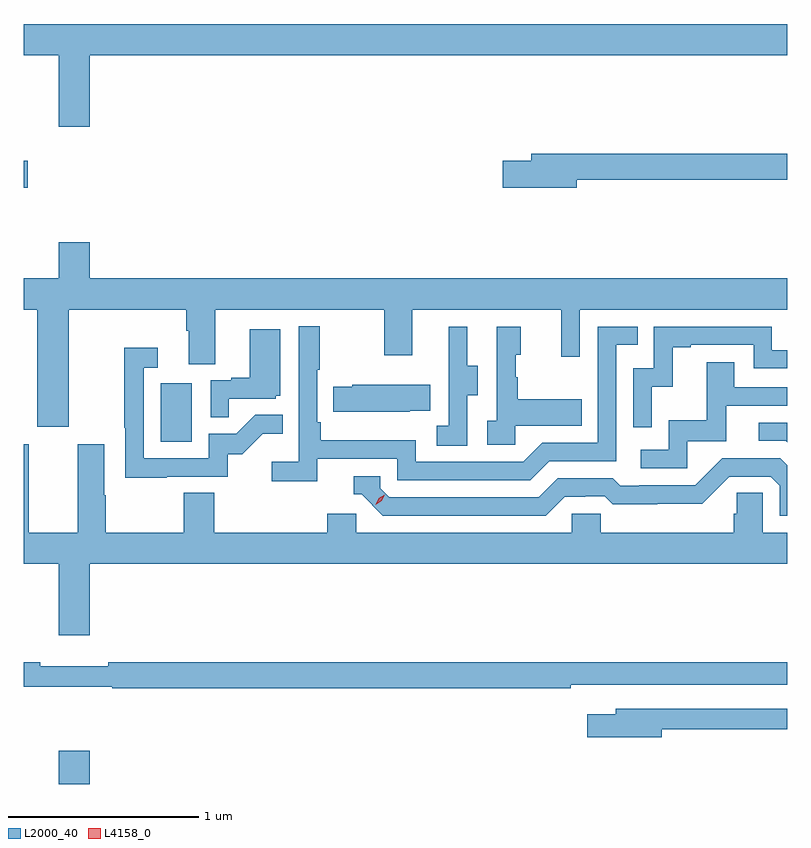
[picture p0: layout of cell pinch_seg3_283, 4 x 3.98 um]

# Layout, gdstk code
import gdstk
lib = gdstk.Library(unit=1e-6, precision=1e-09)
def R(c, l, rs):  # rectangles x0, y0, x1, y1
    for r in rs: c.add(gdstk.rectangle(r[:2], r[2:], *l))
def P(c, l, *ps):  # polygons
    for p in ps: c.add(gdstk.Polygon(p, *l))
L2000_40 = (2000, 40)
L4158_0 = (4158, 0)

pinch_seg3_283 = lib.new_cell('pinch_seg3_283')
R(pinch_seg3_283, L2000_40, [(944.228,713.083,944.392,713.257), (944.762,714.876,944.926,715.183), (944.045,716.206,944.065,716.348)])
P(pinch_seg3_283, L2000_40, [(944.392,716.9),(948.045,716.9),(948.045,717.064),(944.045,717.064),(944.045,716.9),(944.228,716.9),(944.228,716.526),(944.392,716.526)],
  [(946.942,716.248),(948.045,716.248),(948.045,716.384),(946.703,716.384),(946.703,716.348),(946.554,716.348),(946.554,716.206),(946.942,716.206)],
  [(944.281,715.568),(944.897,715.568),(944.897,715.456),(944.909,715.456),(944.909,715.282),(945.049,715.282),(945.049,715.568),(945.934,715.568),(945.934,715.329),(946.081,715.329),(946.081,715.568),(946.862,715.568),(946.862,715.32),(946.959,715.32),(946.959,715.568),(948.045,715.568),(948.045,715.732),(944.392,715.732),(944.392,715.921),(944.228,715.921),(944.228,715.732),(944.045,715.732),(944.045,715.568),(944.117,715.568),(944.117,714.954),(944.281,714.954)],
  [(945.584,714.786),(946.002,714.786),(946.002,714.675),(946.699,714.675),(946.798,714.774),(947.148,714.774),(947.148,715.383),(947.261,715.383),(947.261,715.479),(947.052,715.479),(947.052,714.87),(946.761,714.87),(946.662,714.771),(946.098,714.771),(946.098,714.883),(945.602,714.883),(945.602,714.979),(945.582,714.979),(945.582,715.252),(945.595,715.252),(945.595,715.48),(945.486,715.48),(945.486,714.772),(945.345,714.772),(945.345,714.67),(945.584,714.67)],
  [(947.334,715.163),(947.444,715.163),(947.444,715.371),(947.539,715.371),(947.539,715.383),(947.868,715.383),(947.868,715.26),(948.045,715.26),(948.045,715.356),(947.964,715.356),(947.964,715.479),(947.346,715.479),(947.346,715.26),(947.238,715.26),(947.238,714.951),(947.334,714.951)],
  [(946.62,714.959),(946.967,714.959),(946.967,715.099),(946.633,715.099),(946.633,715.214),(946.623,715.214),(946.623,715.332),(946.648,715.332),(946.648,715.477),(946.524,715.477),(946.524,714.986),(946.473,714.986),(946.473,714.861),(946.62,714.861)],
  [(946.368,715.12),(946.423,715.12),(946.423,715.275),(946.369,715.275),(946.369,715.477),(946.271,715.477),(946.271,715.263),(946.272,715.263),(946.272,714.959),(946.209,714.959),(946.209,714.856),(946.368,714.856)],
  [(945.119,715.101),(945.366,715.101),(945.366,715.116),(945.388,715.116),(945.388,715.465),(945.23,715.465),(945.23,715.21),(945.131,715.21),(945.131,715.197),(945.024,715.197),(945.024,715.003),(945.119,715.003)],
  [(944.795,714.693),(945.114,714.693),(945.114,714.81),(945.19,714.81),(945.297,714.917),(945.401,714.917),(945.401,715.016),(945.257,715.016),(945.159,714.918),(945.015,714.918),(945.015,714.789),(944.673,714.789),(944.673,715.263),(944.746,715.263),(944.746,715.369),(944.572,715.369),(944.572,714.949),(944.577,714.949),(944.577,714.688),(944.795,714.688)],
  [(947.52,714.879),(947.725,714.879),(947.725,715.065),(948.045,715.065),(948.045,715.161),(947.767,715.161),(947.767,715.291),(947.623,715.291),(947.623,714.988),(947.424,714.988),(947.424,714.834),(947.277,714.834),(947.277,714.738),(947.52,714.738)],
  [(946.067,715.037),(946.175,715.037),(946.175,715.174),(945.765,715.174),(945.765,715.164),(945.667,715.164),(945.667,715.034),(946.067,715.034)],
  [(948.045,714.975),(947.895,714.975),(947.895,714.882),(948.036,714.882),(948.045,714.873)],
  [(944.392,714.236),(948.045,714.236),(948.045,714.4),(947.916,714.4),(947.916,714.608),(947.779,714.608),(947.779,714.498),(947.765,714.498),(947.765,714.4),(947.067,714.4),(947.067,714.498),(946.917,714.498),(946.917,714.4),(945.786,714.4),(945.786,714.498),(945.635,714.498),(945.635,714.4),(945.044,714.4),(945.044,714.608),(944.884,714.608),(944.884,714.4),(944.475,714.4),(944.475,714.596),(944.467,714.596),(944.467,714.862),(944.327,714.862),(944.327,714.4),(944.071,714.4),(944.071,714.862),(944.045,714.862),(944.045,714.236),(944.228,714.236),(944.228,713.862),(944.392,713.862)],
  [(946.879,714.588),(946.986,714.588),(946.986,714.591),(947.089,714.591),(947.131,714.549),(947.364,714.549),(947.364,714.551),(947.6,714.551),(947.742,714.693),(947.958,714.693),(948.006,714.645),(948.006,714.489),(948.045,714.489),(948.045,714.753),(948.009,714.789),(947.703,714.789),(947.562,714.648),(947.269,714.648),(947.269,714.645),(947.17,714.645),(947.131,714.684),(946.842,714.684),(946.743,714.585),(945.96,714.585),(945.912,714.633),(945.912,714.696),(945.773,714.696),(945.773,714.6),(945.816,714.6),(945.927,714.489),(946.78,714.489)],
  [(946.91,713.604),(948.045,713.604),(948.045,713.72),(944.488,713.72),(944.488,713.701),(944.132,713.701),(944.132,713.72),(944.045,713.72),(944.045,713.592),(944.51,713.592),(944.51,713.584),(946.91,713.584)],
  [(947.386,713.37),(948.045,713.37),(948.045,713.478),(947.147,713.478),(947.147,713.449),(946.998,713.449),(946.998,713.327),(947.386,713.327)])
P(pinch_seg3_283, L4158_0, [(945.889,714.546),(945.889,714.547),(945.905,714.579),(945.936,714.599),(945.936,714.599),(945.936,714.598),(945.92,714.566),(945.89,714.546)])

lib.write_gds('pinch_seg3_283.gds')
